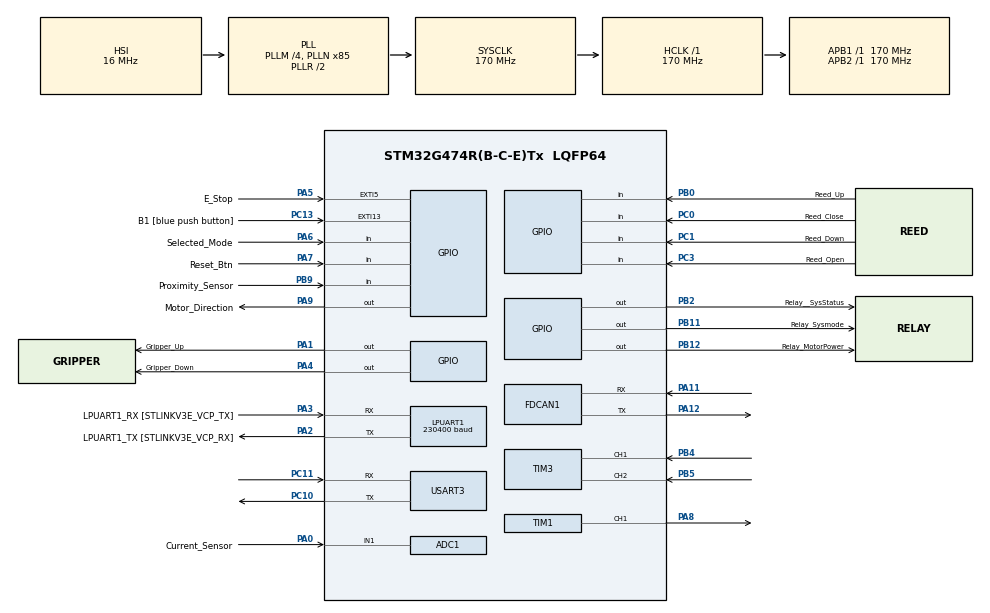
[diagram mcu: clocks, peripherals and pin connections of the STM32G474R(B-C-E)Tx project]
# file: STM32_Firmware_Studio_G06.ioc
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ADC1.Channel-2\#ChannelRegularConversion=ADC_CHANNEL_1
ADC1.NbrOfConversionFlag=1
ADC1.OffsetNumber-2\#ChannelRegularConversion=ADC_OFFSET_NONE
ADC1.Rank-2\#ChannelRegularConversion=1
ADC1.SamplingTime-2\#ChannelRegularConversion=ADC_SAMPLETIME_2CYCLES_5
ADC1.master=1
FDCAN1.CalculateBaudRateNominal=3541666
FDCAN1.CalculateTimeBitNominal=282
FDCAN1.CalculateTimeQuantumNominal=94.11764705882354
LPUART1.BaudRate=230400
LPUART1.Parity=UART_PARITY_EVEN
LPUART1.WordLength=UART_WORDLENGTH_9B
Mcu.Family=STM32G4
Mcu.Name=STM32G474R(B-C-E)Tx
Mcu.Package=LQFP64
NVIC.EXTI15_10_IRQn=true\:0\:0\:false\:false\:true\:true\:true\:true
NVIC.EXTI9_5_IRQn=true\:0\:0\:false\:false\:true\:true\:true\:true
NVIC.LPUART1_IRQn=true\:0\:0\:false\:false\:true\:true\:true\:true
NVIC.PriorityGroup=NVIC_PRIORITYGROUP_4
NVIC.TIM1_UP_TIM16_IRQn=true\:0\:0\:false\:false\:true\:true\:true\:true
NVIC.TIM6_DAC_IRQn=true\:0\:0\:false\:false\:true\:true\:true\:true
NVIC.TIM7_DAC_IRQn=true\:0\:0\:false\:false\:true\:true\:true\:true
NVIC.USART3_IRQn=true\:0\:0\:false\:false\:true\:true\:true\:true
PA0.GPIO_Label=Current_Sensor
PA0.Mode=IN1-Single-Ended
PA0.Signal=ADC1_IN1
PA1.GPIO_Label=Gripper_Up
PA1.Signal=GPIO_Output
PA11.Mode=FDCAN_Activate
PA11.Signal=FDCAN1_RX
PA12.Mode=FDCAN_Activate
PA12.Signal=FDCAN1_TX
PA13.GPIO_Label=T_SWDIO
PA13.Signal=SYS_JTMS-SWDIO
PA14.GPIO_Label=T_SWCLK
PA14.Signal=SYS_JTCK-SWCLK
PA2.GPIO_Label=LPUART1_TX [STLINKV3E_VCP_RX]
PA2.Mode=Asynchronous
PA2.Signal=LPUART1_TX
PA3.GPIO_Label=LPUART1_RX [STLINKV3E_VCP_TX]
PA3.Mode=Asynchronous
PA3.Signal=LPUART1_RX
PA4.GPIO_Label=Gripper_Down
PA4.Signal=GPIO_Output
PA5.GPIO_Label=E_Stop
PA5.GPIO_ModeDefaultEXTI=GPIO_MODE_IT_FALLING
PA5.GPIO_PuPd=GPIO_PULLUP
PA5.Signal=GPXTI5
PA6.GPIO_Label=Selected_Mode
PA6.GPIO_PuPd=GPIO_PULLUP
PA6.Signal=GPIO_Input
PA7.GPIO_Label=Reset_Btn
PA7.GPIO_PuPd=GPIO_PULLUP
PA7.Signal=GPIO_Input
PA8.Signal=S_TIM1_CH1
PA9.GPIO_Label=Motor_Direction
PA9.Signal=GPIO_Output
PB0.GPIO_Label=Reed_Up
PB0.Signal=GPIO_Input
PB11.GPIO_Label=Relay_Sysmode
PB11.Signal=GPIO_Output
PB12.GPIO_Label=Relay_MotorPower
PB12.Signal=GPIO_Output
PB2.GPIO_Label=Relay__SysStatus
PB2.Signal=GPIO_Output
PB3.GPIO_Label=T_SWO
PB3.Signal=SYS_JTDO-SWO
PB4.Signal=S_TIM3_CH1
PB5.Signal=S_TIM3_CH2
PB9.GPIO_Label=Proximity_Sensor
PB9.GPIO_PuPd=GPIO_PULLUP
PB9.Signal=GPIO_Input
PC0.GPIO_Label=Reed_Close 
PC0.Signal=GPIO_Input
PC1.GPIO_Label=Reed_Down 
PC1.Signal=GPIO_Input
PC10.Mode=Asynchronous
PC10.Signal=USART3_TX
PC11.Mode=Asynchronous
PC11.Signal=USART3_RX
PC13.GPIO_Label=B1 [blue push button]
PC13.Signal=GPXTI13
PC14-OSC32_IN.GPIO_Label=RCC_OSC32_IN
PC14-OSC32_IN.Signal=RCC_OSC32_IN
PC15-OSC32_OUT.GPIO_Label=RCC_OSC32_OUT
PC15-OSC32_OUT.Signal=RCC_OSC32_OUT
PC3.GPIO_Label=Reed_Open 
PC3.Signal=GPIO_Input
PF0-OSC_IN.GPIO_Label=RCC_OSC_IN
PF0-OSC_IN.Signal=RCC_OSC_IN
PF1-OSC_OUT.GPIO_Label=RCC_OSC_OUT
PF1-OSC_OUT.Signal=RCC_OSC_OUT
ProjectManager.HeapSize=0x200
ProjectManager.StackSize=0x400
ProjectManager.TargetToolchain=STM32CubeIDE
RCC.ADC12Freq_Value=170000000
RCC.ADC345Freq_Value=170000000
RCC.AHBFreq_Value=170000000
RCC.APB1Freq_Value=170000000
RCC.APB1TimFreq_Value=170000000
RCC.APB2Freq_Value=170000000
RCC.APB2TimFreq_Value=170000000
RCC.CortexFreq_Value=170000000
RCC.EXTERNAL_CLOCK_VALUE=12288000
RCC.HCLKFreq_Value=170000000
RCC.HSE_VALUE=24000000
RCC.HSI48_VALUE=48000000
RCC.HSI_VALUE=16000000
RCC.LSE_VALUE=32768
RCC.PLLM=RCC_PLLM_DIV4
RCC.PLLN=85
RCC.RTCClockSelection=RCC_RTCCLKSOURCE_LSE
RCC.SYSCLKFreq_VALUE=170000000
RCC.SYSCLKSource=RCC_SYSCLKSOURCE_PLLCLK
RCC.USBFreq_Value=170000000
RCC.VCOOutputFreq_Value=340000000
SH.S_TIM1_CH1.0=TIM1_CH1,PWM Generation1 CH1
SH.S_TIM3_CH1.0=TIM3_CH1,Encoder_Interface
SH.S_TIM3_CH2.0=TIM3_CH2,Encoder_Interface
TIM1.Channel-PWM\ Generation1\ CH1=TIM_CHANNEL_1
TIM1.PeriodNoDither=50
TIM1.Prescaler=169
TIM16.PeriodNoDither=49
TIM16.Prescaler=16999
TIM3.EncoderMode=TIM_ENCODERMODE_TI12
TIM6.AutoReloadPreload=TIM_AUTORELOAD_PRELOAD_ENABLE
TIM6.PeriodNoDither=9999
TIM6.Prescaler=169
TIM7.PeriodNoDither=999
TIM7.Prescaler=169
USART3.SwapParam=ADVFEATURE_SWAP_ENABLE
USART3.VirtualMode-Asynchronous=VM_ASYNC
VP_SYS_VS_DBSignals.Mode=DisableDeadBatterySignals
VP_TIM16_VS_ClockSourceINT.Mode=Enable_Timer
VP_TIM1_VS_ClockSourceINT.Mode=Internal
VP_TIM6_VS_ClockSourceINT.Mode=Enable_Timer
VP_TIM7_VS_ClockSourceINT.Mode=Enable_Timer
board=NUCLEO-G474RE

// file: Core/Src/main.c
/* USER CODE BEGIN Header */
/**
 ******************************************************************************
 * @file           : main.c
 * @brief          : Main program body
 ******************************************************************************
 * @attention
 *
 * Copyright (c) 2026 STMicroelectronics.
 * All rights reserved.
 *
 * This software is licensed under terms that can be found in the LICENSE file
 * in the root directory of this software component.
 * If no LICENSE file comes with this software, it is provided AS-IS.
 *
 ******************************************************************************
 */
/* USER CODE END Header */
#include "main.h"

/* USER CODE BEGIN Includes */
#include "motor_controller.h"
#include "modbus_bridge.h"
#include "telemetry_hub.h"
#include "hw_io.h"
#include "kalman.h"
#include "params.h"
#include "app_config.h"
#include "current_sensor.h"
#include <string.h>
#include <stdio.h>
/* USER CODE END Includes */

ADC_HandleTypeDef hadc1;

FDCAN_HandleTypeDef hfdcan1;

UART_HandleTypeDef hlpuart1;
UART_HandleTypeDef huart3;

TIM_HandleTypeDef htim1;
TIM_HandleTypeDef htim3;
TIM_HandleTypeDef htim6;
TIM_HandleTypeDef htim7;
TIM_HandleTypeDef htim16;

/* USER CODE BEGIN PV */
volatile uint8_t rx_byte;
volatile char rx_packet[4];
volatile int rx_ptr = 0;
volatile char rx_debug_log[16]; // Circular log to see command history in Live Expressions
volatile uint8_t debug_idx = 0;
volatile uint8_t modbus_rx_byte;

/* --- USART3 (ESP32) non-blocking TX queue (bug 0-C) -----------------------
 * Both the RX-complete callback and Motor_SendAudioCommand run in ISR context
 * (USART3 IRQ and the 100 Hz TIM6 control loop). A blocking HAL_UART_Transmit
 * there stalls the ISR for milliseconds, delaying the Receive_IT re-arm →
 * RX overrun → error-callback fault loop. Bytes are enqueued here; the main
 * loop drains the queue at thread level where blocking is safe. */
#define U3_TXQ_SIZE 64
static volatile uint8_t  u3_txq[U3_TXQ_SIZE];
static volatile uint16_t u3_txq_head = 0;   /* producer index */
static volatile uint16_t u3_txq_tail = 0;   /* consumer index */

/* Guard flag for Bug 1-D: set true while LPUART1 is being torn down and
 * re-initialised during a baud-rate switch.  _write() checks this flag so
 * that any printf that fires during the reconfiguration window returns
 * immediately instead of writing to a half-torn-down peripheral. */
volatile bool lpuart_reconfiguring = false;
/* USER CODE END PV */

void SystemClock_Config(void);
static void MX_GPIO_Init(void);
static void MX_FDCAN1_Init(void);
static void MX_LPUART1_UART_Init(void);
static void MX_USART3_UART_Init(void);
static void MX_TIM1_Init(void);
static void MX_TIM3_Init(void);
static void MX_TIM6_Init(void);
static void MX_TIM16_Init(void);
static void MX_ADC1_Init(void);
static void MX_TIM7_Init(void);

/* USER CODE BEGIN 0 */

/* ISR-safe byte enqueue for USART3 TX (bug 0-C). Drops bytes if full — echo
 * and audio commands are non-critical. PRIMASK guards the head update so a
 * non-ISR caller (e.g. homing audio) cannot be preempted mid-enqueue. */
void USART3_QueueTx(const uint8_t *data, uint16_t len) {
    uint32_t primask = __get_PRIMASK();
    __disable_irq();
    for (uint16_t i = 0; i < len; i++) {
        uint16_t next = (uint16_t)((u3_txq_head + 1u) % U3_TXQ_SIZE);
        if (next == u3_txq_tail) break;       /* full — drop remainder */
        u3_txq[u3_txq_head] = data[i];
        u3_txq_head = next;
    }
    __set_PRIMASK(primask);
}

/* Drain the USART3 TX queue from the main loop (thread context only). */
static void USART3_DrainTx(void) {
    while (u3_txq_tail != u3_txq_head) {
        uint8_t b = u3_txq[u3_txq_tail];
        if (HAL_UART_Transmit(&huart3, &b, 1, 5) != HAL_OK) break;
        u3_txq_tail = (uint16_t)((u3_txq_tail + 1u) % U3_TXQ_SIZE);
    }
}

/**
 * @brief Reconfigure LPUART1 between Dashboard (115200 8N1) and Modbus (230400 8E1).
 * @param modbus_mode  true=Modbus/Base System, false=Dashboard/Joystick
 */
void LPUART1_SetMode(bool modbus_mode) {
	/* Block _write() while the peripheral is being reconfigured (Bug 1-D). */
	lpuart_reconfiguring = true;

	/* Abort any ongoing Receive_IT — do NOT DeInit.
	 * HAL_UART_DeInit calls HAL_UART_MspDeInit which disables the LPUART1
	 * RCC clock and reconfigures the GPIO pins to analog.  The subsequent
	 * HAL_UART_MspInit then calls HAL_RCCEx_PeriphCLKConfig which can time
	 * out or return HAL_ERROR on a live re-init → Error_Handler → infinite
	 * loop → IWDG reset.  Calling HAL_UART_Init on a non-RESET-state handle
	 * skips MspInit entirely and just reconfigures the peripheral registers
	 * in-place, which is all we need for a baud-rate change. */
	HAL_UART_Abort(&hlpuart1);
	HAL_Delay(5);   /* let any in-flight TX byte finish (~44 µs at 115200) */

	if (modbus_mode) {
		hlpuart1.Init.BaudRate = 230400;
		hlpuart1.Init.WordLength = UART_WORDLENGTH_9B;
		hlpuart1.Init.Parity = UART_PARITY_EVEN;
	} else {
		hlpuart1.Init.BaudRate = 115200;
		hlpuart1.Init.WordLength = UART_WORDLENGTH_8B;
		hlpuart1.Init.Parity = UART_PARITY_NONE;
	}
	hlpuart1.Init.StopBits = UART_STOPBITS_1;
	hlpuart1.Init.Mode = UART_MODE_TX_RX;
	hlpuart1.Init.HwFlowCtl = UART_HWCONTROL_NONE;
	hlpuart1.Init.OneBitSampling = UART_ONE_BIT_SAMPLE_DISABLE;
	hlpuart1.Init.ClockPrescaler = UART_PRESCALER_DIV1;
	hlpuart1.AdvancedInit.AdvFeatureInit = UART_ADVFEATURE_NO_INIT;

	if (HAL_UART_Init(&hlpuart1) != HAL_OK)
		Error_Handler();
	HAL_UARTEx_SetTxFifoThreshold(&hlpuart1, UART_TXFIFO_THRESHOLD_1_8);
	HAL_UARTEx_SetRxFifoThreshold(&hlpuart1, UART_RXFIFO_THRESHOLD_1_8);
	HAL_UARTEx_DisableFifoMode(&hlpuart1);

	lpuart_reconfiguring = false;
	HAL_UART_Receive_IT(&hlpuart1, (uint8_t*) &modbus_rx_byte, 1);
}

/* Deferred toggle flag — set from ISR/anywhere, processed in main loop only.
 * Mode_Toggle() uses HAL_Delay + HAL_UART_DeInit which can't run safely in ISR
 * (HAL_Delay depends on SysTick, which has lower priority than TIM6/UART ISRs). */
volatile bool mode_toggle_request = false;

/**
 * @brief Request a mode toggle from anywhere (ISR-safe).
 *        Actual toggle happens in main loop.
 */
void Mode_Toggle(void) {
	mode_toggle_request = true;
}

/**
 * @brief Perform the actual mode switch. ONLY call from main loop.
 *        Toggles control_system_mode and reconfigures LPUART1.
 */
static void Mode_Toggle_Impl(void) {
	extern volatile Control_SystemMode_t control_system_mode;
	extern volatile bool emergency_stop;
	extern volatile bool startup_estop_pending;
	hw.mode_toggle_fired++;   /* visible in Live Expressions — confirms this function ran */

	if (control_system_mode == CONTROL_MODE_JOYSTICK) {
		control_system_mode = CONTROL_MODE_BASE_SYSTEM;
		LPUART1_SetMode(true);   /* switch to 230400 8E1 for Modbus */
		Motor_SendAudioCommand('S');
		printf("[DBG] Mode -> BASE_SYSTEM (fired=%lu)\r\n", (unsigned long)hw.mode_toggle_fired);

		FAULT_CLR(FAULT_STARTUP_ESTOP | FAULT_JOYSTICK_LOST);
		startup_estop_pending = false;
		if (!hw.in_estop && fault_code == FAULT_NONE) {
			emergency_stop = false;
		}
	} else {
		control_system_mode = CONTROL_MODE_JOYSTICK;
		LPUART1_SetMode(false);  /* switch back to 115200 8N1 for dashboard */
		Motor_SendAudioCommand('J');
		printf("[DBG] Mode -> JOYSTICK (fired=%lu)\r\n", (unsigned long)hw.mode_toggle_fired);
	}
}

/* USER CODE END 0 */

int main(void)
{

  /* MCU Configuration--------------------------------------------------------*/

  /* Reset of all peripherals, Initializes the Flash interface and the Systick. */
  HAL_Init();

  /* Configure the system clock */
  SystemClock_Config();

  /* Initialize all configured peripherals */
  MX_GPIO_Init();
  MX_FDCAN1_Init();
  MX_LPUART1_UART_Init();
  MX_USART3_UART_Init();
  MX_TIM1_Init();
  MX_TIM3_Init();
  MX_TIM6_Init();
  MX_TIM16_Init();
  MX_ADC1_Init();
  MX_TIM7_Init();
  /* USER CODE BEGIN 2 */
	/* Read the slide switch at boot so the system starts in the correct mode
	 * without requiring a toggle-cycle. Selected_Mode_Pin is PULLUP active-low:
	 * GPIO_PIN_RESET = switch in BASE position (sw_boot=1). */
	{
		extern volatile Control_SystemMode_t control_system_mode;
		uint8_t sw_boot = (HAL_GPIO_ReadPin(Selected_Mode_GPIO_Port, Selected_Mode_Pin)
		                   == GPIO_PIN_RESET) ? 1u : 0u;
		control_system_mode = sw_boot ? CONTROL_MODE_BASE_SYSTEM : CONTROL_MODE_JOYSTICK;
	/* ModbusBridge_Init MUST run before LPUART1_SetMode arms the RX interrupt.
	 * Any byte arriving on LPUART1 goes straight to ModbusBridge_RxCallback(),
	 * which dereferences hmodbus.htim. If that pointer is still NULL the MCU
	 * faults immediately. */
		ModbusBridge_Init();
		LPUART1_SetMode(sw_boot ? true : false);

		/* Give the base system time to send its first Modbus probe and get a
		 * response before Motor_Init() occupies the CPU for another ~50 ms.
		 * Without this, the base system's cold-start scan arrives during the
		 * MX peripheral init window when LPUART1 RX is not yet armed, gets
		 * no reply, and declares "abnormal heartbeat" — requiring a manual
		 * STM32 reset to re-sync.  300 ms is enough for any base system to
		 * finish booting and fire its first poll. */
		if (sw_boot) {
			uint32_t poll_end = HAL_GetTick() + 300;
			while (HAL_GetTick() < poll_end) {
				ModbusBridge_Process();
			}
		}
	}

	/* Log reset cause BEFORE Motor_Init clears the IWDG flags with its own
	 * activity.  Multiple flags can be set simultaneously (e.g. BOD+PIN on a
	 * clean power-on), so we log every set bit rather than early-exit. */
	{
		uint32_t csr = RCC->CSR;
		RCC->CSR |= RCC_CSR_RMVF;   /* clear all reset flags for the next boot */
		if (csr & RCC_CSR_IWDGRSTF)
			HAL_UART_Transmit(&hlpuart1,
				(uint8_t*)"[BOOT] Reset: IWDG watchdog timeout\r\n", 37, 200);
		if (csr & RCC_CSR_WWDGRSTF)
			HAL_UART_Transmit(&hlpuart1,
				(uint8_t*)"[BOOT] Reset: Window watchdog\r\n", 31, 200);
		if (csr & RCC_CSR_SFTRSTF)
			HAL_UART_Transmit(&hlpuart1,
				(uint8_t*)"[BOOT] Reset: Software (NVIC_SystemReset)\r\n", 43, 200);
		if (csr & RCC_CSR_BORRSTF)
			HAL_UART_Transmit(&hlpuart1,
				(uint8_t*)"[BOOT] Reset: Brown-out (supply voltage drop!)\r\n", 48, 200);
		if ((csr & RCC_CSR_PINRSTF) && !(csr & RCC_CSR_BORRSTF))
			HAL_UART_Transmit(&hlpuart1,
				(uint8_t*)"[BOOT] Reset: NRST pin (button or debugger)\r\n", 45, 200);
		if (csr & RCC_CSR_LPWRRSTF)
			HAL_UART_Transmit(&hlpuart1,
				(uint8_t*)"[BOOT] Reset: Low-power exit\r\n", 30, 200);
	}

	Config_Init(); // Load tuning from Flash
	Motor_Init();
	HW_Init();
	CurrentSensor_Init(&hadc1);
	Motor_SetVoltageLimit(SUPPLY_VOLTAGE, SUPPLY_VOLTAGE); /* 24 V — must match params.h SUPPLY_VOLTAGE used by the FF math */
	Motor_SetMotionProfile(250.0f, 500.0f, 0.1f);
	Telemetry_Init(&hlpuart1);
	Kalman_Init();
	HAL_TIM_Base_Start_IT(&htim6); /* fires HAL_TIM_PeriodElapsedCallback at 1 kHz — control loop */
	/* Bug 1-H: start TIM7 so Kalman_Tick fires at 1 kHz.
	 * PREREQUISITE: TIM7 must be enabled in CubeMX (.ioc) as a Basic Timer,
	 * Prescaler=(170-1), Period=(1000-1), with "TIM7 global interrupt" checked
	 * under NVIC settings.  Without that .ioc entry MX_TIM7_Init() and htim7
	 * are not generated and this line will fail to compile. */
	HAL_TIM_Base_Start_IT(&htim7);

	HAL_UART_Receive_IT(&hlpuart1, (uint8_t*) &modbus_rx_byte, 1);
	HAL_UART_Receive_IT(&huart3, (uint8_t*) &rx_byte, 1);

	/* IWDG — 15-second independent hardware watchdog.
	 * If the firmware hangs, TIM1 keeps generating PWM in hardware (motor runs
	 * uncontrolled). IWDG resets the MCU; Motor_Init() then latches startup ESTOP
	 * which cuts PWM immediately.  15 s is safely longer than the worst-case
	 * gripper sequence (4 × REED_SW_TIMEOUT_MS = 12 s); wait_for_reed() also
	 * kicks the IWDG on each loop iteration. */
	IWDG->KR  = 0x5555U;   /* unlock PR and RLR */
	IWDG->PR  = 6U;         /* prescaler /256 */
	IWDG->RLR = 1875U;      /* 256 × 1875 / 32000 Hz ≈ 15 s nominal */
	/* Wait for register update to propagate through LSI domain (normally < 300 µs).
	 * Cap at 10 ms so a stuck SR bit cannot block the main loop from starting. */
	{ uint32_t _t = HAL_GetTick(); while ((IWDG->SR & 0x7U) && (HAL_GetTick() - _t < 10)) {} }
	IWDG->KR  = 0xCCCCU;   /* start IWDG */
  /* USER CODE END 2 */

  /* Infinite loop */
  /* USER CODE BEGIN WHILE */
	uint32_t last_matlab_tick = HAL_GetTick();
	while (1) {
    /* USER CODE END WHILE */

    /* USER CODE BEGIN 3 */
		hw.dbg_loop_top++;   /* DIAG: proves the main loop is alive and iterating */
		IWDG->KR = 0xAAAAU;  /* kick watchdog — loop is alive */

		USART3_DrainTx();   /* flush deferred ESP32 echo/audio bytes (bug 0-C) */

		/* Emit strings deferred by the 100 Hz control ISR (bug 1-G). */
		Motor_DrainControlLog();

		/* Run the blocking gripper Pick/Place sequence at thread level (bug 1-F).
		 * The joystick command arrives in the USART3 RX ISR and only sets
		 * gripper_seq_request; the busy-wait on reed switches must happen here,
		 * never in the ISR. Clear the request before running so a press during
		 * execution is re-latched for the next loop. */
		if (gripper_seq_request != 0) {
			uint8_t req = gripper_seq_request;
			gripper_seq_request = 0;
			if      (req == 1) Gripper_Sequence_Pick();
			else if (req == 2) Gripper_Sequence_Place();
		}

		if (HAL_GetTick() - last_matlab_tick >= 20) {
			Motor_SendDataToMatlab();
			/* HW_RefreshIO() is owned solely by the 100 Hz TIM6 ISR now (bug 1-A);
			 * calling it here too made it reentrant and corrupted its static
			 * debounce/ADC state. The ISR already refreshes hw at 100 Hz. */
			Telemetry_Update();
			last_matlab_tick = HAL_GetTick();
		}

		// Flash Save Check (Triggered from Dashboard via Telemetry CMD)
		extern volatile bool flash_save_requested;
		if (flash_save_requested) {
			flash_save_requested = false;
			Config_Save();
		}

		/* Slide-switch debounce and mode sync — runs entirely in the main loop.
		 * Reads Selected_Mode_Pin directly every 10 ms. Requires 5 consecutive
		 * consistent reads (50 ms) before committing — fast enough for a slide
		 * switch but rejects brief EMI spikes. Mode change is blocked while
		 * emergency_stop is active so relay-arc noise cannot cause a spurious
		 * mode flip during or just after an E-stop event. */
		{
			static uint32_t sw_last_tick    = 0;
			static uint8_t  sw_stable_state = 0xFF; /* 0xFF = uninitialized */
			static uint8_t  sw_candidate    = 0;
			static uint8_t  sw_count        = 0;

			if (HAL_GetTick() - sw_last_tick >= 10) {
				sw_last_tick = HAL_GetTick();
				uint8_t sw_raw = (HAL_GPIO_ReadPin(Selected_Mode_GPIO_Port, Selected_Mode_Pin)
				                  == GPIO_PIN_RESET) ? 1 : 0;

				if (sw_stable_state == 0xFF) {
					sw_stable_state = sw_raw;
					sw_candidate    = sw_raw;
				} else if (sw_raw == sw_candidate) {
					if (sw_count < 5) sw_count++;           /* 5 × 10 ms = 50 ms */
					if (sw_count == 5 && sw_raw != sw_stable_state) {
						sw_stable_state = sw_raw;
						bool sw_wants_base = (sw_raw == 1);
						bool is_base = (control_system_mode == CONTROL_MODE_BASE_SYSTEM);
						if (sw_wants_base != is_base) {
							Mode_Toggle_Impl();
						}
					}
				} else {
					sw_candidate = sw_raw;
					sw_count     = 0;
				}
			}
		}

		hw.dbg_loop_premode++;  /* DIAG: proves the loop reaches the mode-toggle check */

		/* Handle deferred mode-toggle requests from dashboard / joystick button.
		 * Doing the actual switch here (main loop) is safe because HAL_Delay
		 * works correctly outside of higher-priority interrupts. */
		if (mode_toggle_request) {
			mode_toggle_request = false;
			Mode_Toggle_Impl();
		}

		if (trigger_homing_sequence) {
			static uint32_t last_homing_tick = 0;
			if (HAL_GetTick() - last_homing_tick >= 10) {
				if (Motor_RunHomingSequence()) {
					trigger_homing_sequence = false;
				}
				last_homing_tick = HAL_GetTick();
			}
		}

		ModbusBridge_UpdateRegisters();
		ModbusBridge_Process();
	}
  /* USER CODE END 3 */
}

void SystemClock_Config(void)
{
  RCC_OscInitTypeDef RCC_OscInitStruct = {0};
  RCC_ClkInitTypeDef RCC_ClkInitStruct = {0};

  /** Configure the main internal regulator output voltage
  */
  HAL_PWREx_ControlVoltageScaling(PWR_REGULATOR_VOLTAGE_SCALE1_BOOST);

  /** Initializes the RCC Oscillators according to the specified parameters
  * in the RCC_OscInitTypeDef structure.
  */
  RCC_OscInitStruct.OscillatorType = RCC_OSCILLATORTYPE_HSI;
  RCC_OscInitStruct.HSIState = RCC_HSI_ON;
  RCC_OscInitStruct.HSICalibrationValue = RCC_HSICALIBRATION_DEFAULT;
  RCC_OscInitStruct.PLL.PLLState = RCC_PLL_ON;
  RCC_OscInitStruct.PLL.PLLSource = RCC_PLLSOURCE_HSI;
  RCC_OscInitStruct.PLL.PLLM = RCC_PLLM_DIV4;
  RCC_OscInitStruct.PLL.PLLN = 85;
  RCC_OscInitStruct.PLL.PLLP = RCC_PLLP_DIV2;
  RCC_OscInitStruct.PLL.PLLQ = RCC_PLLQ_DIV2;
  RCC_OscInitStruct.PLL.PLLR = RCC_PLLR_DIV2;
  if (HAL_RCC_OscConfig(&RCC_OscInitStruct) != HAL_OK)
  {
    Error_Handler();
  }

  /** Initializes the CPU, AHB and APB buses clocks
  */
  RCC_ClkInitStruct.ClockType = RCC_CLOCKTYPE_HCLK|RCC_CLOCKTYPE_SYSCLK
                              |RCC_CLOCKTYPE_PCLK1|RCC_CLOCKTYPE_PCLK2;
  RCC_ClkInitStruct.SYSCLKSource = RCC_SYSCLKSOURCE_PLLCLK;
  RCC_ClkInitStruct.AHBCLKDivider = RCC_SYSCLK_DIV1;
  RCC_ClkInitStruct.APB1CLKDivider = RCC_HCLK_DIV1;
  RCC_ClkInitStruct.APB2CLKDivider = RCC_HCLK_DIV1;

  if (HAL_RCC_ClockConfig(&RCC_ClkInitStruct, FLASH_LATENCY_4) != HAL_OK)
  {
    Error_Handler();
  }
}

static void MX_ADC1_Init(void)
{

  ADC_MultiModeTypeDef multimode = {0};
  ADC_ChannelConfTypeDef sConfig = {0};

  /** Common config
  */
  hadc1.Instance = ADC1;
  hadc1.Init.ClockPrescaler = ADC_CLOCK_SYNC_PCLK_DIV4;
  hadc1.Init.Resolution = ADC_RESOLUTION_12B;
  hadc1.Init.DataAlign = ADC_DATAALIGN_RIGHT;
  hadc1.Init.GainCompensation = 0;
  hadc1.Init.ScanConvMode = ADC_SCAN_DISABLE;
  hadc1.Init.EOCSelection = ADC_EOC_SINGLE_CONV;
  hadc1.Init.LowPowerAutoWait = DISABLE;
  hadc1.Init.ContinuousConvMode = DISABLE;
  hadc1.Init.NbrOfConversion = 1;
  hadc1.Init.DiscontinuousConvMode = DISABLE;
  hadc1.Init.ExternalTrigConv = ADC_SOFTWARE_START;
  hadc1.Init.ExternalTrigConvEdge = ADC_EXTERNALTRIGCONVEDGE_NONE;
  hadc1.Init.DMAContinuousRequests = DISABLE;
  hadc1.Init.Overrun = ADC_OVR_DATA_PRESERVED;
  hadc1.Init.OversamplingMode = DISABLE;
  if (HAL_ADC_Init(&hadc1) != HAL_OK)
  {
    Error_Handler();
  }

  /** Configure the ADC multi-mode
  */
  multimode.Mode = ADC_MODE_INDEPENDENT;
  if (HAL_ADCEx_MultiModeConfigChannel(&hadc1, &multimode) != HAL_OK)
  {
    Error_Handler();
  }

  /** Configure Regular Channel
  */
  sConfig.Channel = ADC_CHANNEL_1;
  sConfig.Rank = ADC_REGULAR_RANK_1;
  sConfig.SamplingTime = ADC_SAMPLETIME_2CYCLES_5;
  sConfig.SingleDiff = ADC_SINGLE_ENDED;
  sConfig.OffsetNumber = ADC_OFFSET_NONE;
  sConfig.Offset = 0;
  if (HAL_ADC_ConfigChannel(&hadc1, &sConfig) != HAL_OK)
  {
    Error_Handler();
  }

}

static void MX_FDCAN1_Init(void)
{

  hfdcan1.Instance = FDCAN1;
  hfdcan1.Init.ClockDivider = FDCAN_CLOCK_DIV1;
  hfdcan1.Init.FrameFormat = FDCAN_FRAME_CLASSIC;
  hfdcan1.Init.Mode = FDCAN_MODE_NORMAL;
  hfdcan1.Init.AutoRetransmission = DISABLE;
  hfdcan1.Init.TransmitPause = DISABLE;
  hfdcan1.Init.ProtocolException = DISABLE;
  hfdcan1.Init.NominalPrescaler = 16;
  hfdcan1.Init.NominalSyncJumpWidth = 1;
  hfdcan1.Init.NominalTimeSeg1 = 1;
  hfdcan1.Init.NominalTimeSeg2 = 1;
  hfdcan1.Init.DataPrescaler = 1;
  hfdcan1.Init.DataSyncJumpWidth = 1;
  hfdcan1.Init.DataTimeSeg1 = 1;
  hfdcan1.Init.DataTimeSeg2 = 1;
  hfdcan1.Init.StdFiltersNbr = 0;
  hfdcan1.Init.ExtFiltersNbr = 0;
  hfdcan1.Init.TxFifoQueueMode = FDCAN_TX_FIFO_OPERATION;
  if (HAL_FDCAN_Init(&hfdcan1) != HAL_OK)
  {
    Error_Handler();
  }

}

static void MX_LPUART1_UART_Init(void)
{

  hlpuart1.Instance = LPUART1;
  hlpuart1.Init.BaudRate = 230400;
  hlpuart1.Init.WordLength = UART_WORDLENGTH_9B;
  hlpuart1.Init.StopBits = UART_STOPBITS_1;
  hlpuart1.Init.Parity = UART_PARITY_EVEN;
  hlpuart1.Init.Mode = UART_MODE_TX_RX;
  hlpuart1.Init.HwFlowCtl = UART_HWCONTROL_NONE;
  hlpuart1.Init.OneBitSampling = UART_ONE_BIT_SAMPLE_DISABLE;
  hlpuart1.Init.ClockPrescaler = UART_PRESCALER_DIV1;
  hlpuart1.AdvancedInit.AdvFeatureInit = UART_ADVFEATURE_NO_INIT;
  if (HAL_UART_Init(&hlpuart1) != HAL_OK)
  {
    Error_Handler();
  }
  if (HAL_UARTEx_SetTxFifoThreshold(&hlpuart1, UART_TXFIFO_THRESHOLD_1_8) != HAL_OK)
  {
    Error_Handler();
  }
  if (HAL_UARTEx_SetRxFifoThreshold(&hlpuart1, UART_RXFIFO_THRESHOLD_1_8) != HAL_OK)
  {
    Error_Handler();
  }
  if (HAL_UARTEx_DisableFifoMode(&hlpuart1) != HAL_OK)
  {
    Error_Handler();
  }

}

static void MX_USART3_UART_Init(void)
{

  huart3.Instance = USART3;
  huart3.Init.BaudRate = 115200;
  huart3.Init.WordLength = UART_WORDLENGTH_8B;
  huart3.Init.StopBits = UART_STOPBITS_1;
  huart3.Init.Parity = UART_PARITY_NONE;
  huart3.Init.Mode = UART_MODE_TX_RX;
  huart3.Init.HwFlowCtl = UART_HWCONTROL_NONE;
  huart3.Init.OverSampling = UART_OVERSAMPLING_16;
  huart3.Init.OneBitSampling = UART_ONE_BIT_SAMPLE_DISABLE;
  huart3.Init.ClockPrescaler = UART_PRESCALER_DIV1;
  huart3.AdvancedInit.AdvFeatureInit = UART_ADVFEATURE_SWAP_INIT;
  huart3.AdvancedInit.Swap = UART_ADVFEATURE_SWAP_ENABLE;
  if (HAL_UART_Init(&huart3) != HAL_OK)
  {
    Error_Handler();
  }
  if (HAL_UARTEx_SetTxFifoThreshold(&huart3, UART_TXFIFO_THRESHOLD_1_8) != HAL_OK)
  {
    Error_Handler();
  }
  if (HAL_UARTEx_SetRxFifoThreshold(&huart3, UART_RXFIFO_THRESHOLD_1_8) != HAL_OK)
  {
    Error_Handler();
  }
  if (HAL_UARTEx_DisableFifoMode(&huart3) != HAL_OK)
  {
    Error_Handler();
  }

}

static void MX_TIM1_Init(void)
{

  TIM_ClockConfigTypeDef sClockSourceConfig = {0};
  TIM_MasterConfigTypeDef sMasterConfig = {0};
  TIM_OC_InitTypeDef sConfigOC = {0};
  TIM_BreakDeadTimeConfigTypeDef sBreakDeadTimeConfig = {0};

  htim1.Instance = TIM1;
  htim1.Init.Prescaler = 169;
  htim1.Init.CounterMode = TIM_COUNTERMODE_UP;
  htim1.Init.Period = 50;
  htim1.Init.ClockDivision = TIM_CLOCKDIVISION_DIV1;
  htim1.Init.RepetitionCounter = 0;
  htim1.Init.AutoReloadPreload = TIM_AUTORELOAD_PRELOAD_DISABLE;
  if (HAL_TIM_Base_Init(&htim1) != HAL_OK)
  {
    Error_Handler();
  }
  sClockSourceConfig.ClockSource = TIM_CLOCKSOURCE_INTERNAL;
  if (HAL_TIM_ConfigClockSource(&htim1, &sClockSourceConfig) != HAL_OK)
  {
    Error_Handler();
  }
  if (HAL_TIM_PWM_Init(&htim1) != HAL_OK)
  {
    Error_Handler();
  }
  sMasterConfig.MasterOutputTrigger = TIM_TRGO_RESET;
  sMasterConfig.MasterOutputTrigger2 = TIM_TRGO2_RESET;
  sMasterConfig.MasterSlaveMode = TIM_MASTERSLAVEMODE_DISABLE;
  if (HAL_TIMEx_MasterConfigSynchronization(&htim1, &sMasterConfig) != HAL_OK)
  {
    Error_Handler();
  }
  sConfigOC.OCMode = TIM_OCMODE_PWM1;
  sConfigOC.Pulse = 0;
  sConfigOC.OCPolarity = TIM_OCPOLARITY_HIGH;
  sConfigOC.OCNPolarity = TIM_OCNPOLARITY_HIGH;
  sConfigOC.OCFastMode = TIM_OCFAST_DISABLE;
  sConfigOC.OCIdleState = TIM_OCIDLESTATE_RESET;
  sConfigOC.OCNIdleState = TIM_OCNIDLESTATE_RESET;
  if (HAL_TIM_PWM_ConfigChannel(&htim1, &sConfigOC, TIM_CHANNEL_1) != HAL_OK)
  {
    Error_Handler();
  }
  sBreakDeadTimeConfig.OffStateRunMode = TIM_OSSR_DISABLE;
  sBreakDeadTimeConfig.OffStateIDLEMode = TIM_OSSI_DISABLE;
  sBreakDeadTimeConfig.LockLevel = TIM_LOCKLEVEL_OFF;
  sBreakDeadTimeConfig.DeadTime = 0;
  sBreakDeadTimeConfig.BreakState = TIM_BREAK_DISABLE;
  sBreakDeadTimeConfig.BreakPolarity = TIM_BREAKPOLARITY_HIGH;
  sBreakDeadTimeConfig.BreakFilter = 0;
  sBreakDeadTimeConfig.BreakAFMode = TIM_BREAK_AFMODE_INPUT;
  sBreakDeadTimeConfig.Break2State = TIM_BREAK2_DISABLE;
  sBreakDeadTimeConfig.Break2Polarity = TIM_BREAK2POLARITY_HIGH;
  sBreakDeadTimeConfig.Break2Filter = 0;
  sBreakDeadTimeConfig.Break2AFMode = TIM_BREAK_AFMODE_INPUT;
  sBreakDeadTimeConfig.AutomaticOutput = TIM_AUTOMATICOUTPUT_DISABLE;
  if (HAL_TIMEx_ConfigBreakDeadTime(&htim1, &sBreakDeadTimeConfig) != HAL_OK)
  {
    Error_Handler();
  }
  HAL_TIM_MspPostInit(&htim1);

}

static void MX_TIM3_Init(void)
{

  TIM_Encoder_InitTypeDef sConfig = {0};
  TIM_MasterConfigTypeDef sMasterConfig = {0};

  htim3.Instance = TIM3;
  htim3.Init.Prescaler = 0;
  htim3.Init.CounterMode = TIM_COUNTERMODE_UP;
  htim3.Init.Period = 65535;
  htim3.Init.ClockDivision = TIM_CLOCKDIVISION_DIV1;
  htim3.Init.AutoReloadPreload = TIM_AUTORELOAD_PRELOAD_DISABLE;
  sConfig.EncoderMode = TIM_ENCODERMODE_TI12;
  sConfig.IC1Polarity = TIM_ICPOLARITY_RISING;
  sConfig.IC1Selection = TIM_ICSELECTION_DIRECTTI;
  sConfig.IC1Prescaler = TIM_ICPSC_DIV1;
  sConfig.IC1Filter = 0;
  sConfig.IC2Polarity = TIM_ICPOLARITY_RISING;
  sConfig.IC2Selection = TIM_ICSELECTION_DIRECTTI;
  sConfig.IC2Prescaler = TIM_ICPSC_DIV1;
  sConfig.IC2Filter = 0;
  if (HAL_TIM_Encoder_Init(&htim3, &sConfig) != HAL_OK)
  {
    Error_Handler();
  }
  sMasterConfig.MasterOutputTrigger = TIM_TRGO_RESET;
  sMasterConfig.MasterSlaveMode = TIM_MASTERSLAVEMODE_DISABLE;
  if (HAL_TIMEx_MasterConfigSynchronization(&htim3, &sMasterConfig) != HAL_OK)
  {
    Error_Handler();
  }

}

static void MX_TIM6_Init(void)
{

  TIM_MasterConfigTypeDef sMasterConfig = {0};

  htim6.Instance = TIM6;
  htim6.Init.Prescaler = 169;
  htim6.Init.CounterMode = TIM_COUNTERMODE_UP;
  htim6.Init.Period = 999;   /* 170 MHz / 170 / 1000 = 1 kHz — inner speed loop */
  htim6.Init.AutoReloadPreload = TIM_AUTORELOAD_PRELOAD_ENABLE;
  if (HAL_TIM_Base_Init(&htim6) != HAL_OK)
  {
    Error_Handler();
  }
  sMasterConfig.MasterOutputTrigger = TIM_TRGO_RESET;
  sMasterConfig.MasterSlaveMode = TIM_MASTERSLAVEMODE_DISABLE;
  if (HAL_TIMEx_MasterConfigSynchronization(&htim6, &sMasterConfig) != HAL_OK)
  {
    Error_Handler();
  }

}

static void MX_TIM7_Init(void)
{

  TIM_MasterConfigTypeDef sMasterConfig = {0};

  htim7.Instance = TIM7;
  htim7.Init.Prescaler = 169;
  htim7.Init.CounterMode = TIM_COUNTERMODE_UP;
  htim7.Init.Period = 999;
  htim7.Init.AutoReloadPreload = TIM_AUTORELOAD_PRELOAD_DISABLE;
  if (HAL_TIM_Base_Init(&htim7) != HAL_OK)
  {
    Error_Handler();
  }
  sMasterConfig.MasterOutputTrigger = TIM_TRGO_RESET;
  sMasterConfig.MasterSlaveMode = TIM_MASTERSLAVEMODE_DISABLE;
  if (HAL_TIMEx_MasterConfigSynchronization(&htim7, &sMasterConfig) != HAL_OK)
  {
    Error_Handler();
  }

}

static void MX_TIM16_Init(void)
{

  htim16.Instance = TIM16;
  htim16.Init.Prescaler = 16999;
  htim16.Init.CounterMode = TIM_COUNTERMODE_UP;
  htim16.Init.Period = 49;
  htim16.Init.ClockDivision = TIM_CLOCKDIVISION_DIV1;
  htim16.Init.RepetitionCounter = 0;
  htim16.Init.AutoReloadPreload = TIM_AUTORELOAD_PRELOAD_DISABLE;
  if (HAL_TIM_Base_Init(&htim16) != HAL_OK)
  {
    Error_Handler();
  }

}

static void MX_GPIO_Init(void)
{
  GPIO_InitTypeDef GPIO_InitStruct = {0};

  /* GPIO Ports Clock Enable */
  __HAL_RCC_GPIOC_CLK_ENABLE();
  __HAL_RCC_GPIOF_CLK_ENABLE();
  __HAL_RCC_GPIOA_CLK_ENABLE();
  __HAL_RCC_GPIOB_CLK_ENABLE();

  /*Configure GPIO pin Output Level */
  HAL_GPIO_WritePin(GPIOA, Gripper_Up_Pin|Gripper_Down_Pin|Motor_Direction_Pin, GPIO_PIN_RESET);

  /*Configure GPIO pin Output Level */
  HAL_GPIO_WritePin(GPIOB, Relay__SysStatus_Pin|Relay_Sysmode_Pin|Relay_MotorPower_Pin, GPIO_PIN_RESET);

  /*Configure GPIO pin : B1_Pin */
  GPIO_InitStruct.Pin = B1_Pin;
  GPIO_InitStruct.Mode = GPIO_MODE_IT_RISING;
  GPIO_InitStruct.Pull = GPIO_NOPULL;
  HAL_GPIO_Init(B1_GPIO_Port, &GPIO_InitStruct);

  /*Configure GPIO pins : Reed_Close_Pin Reed_Down_Pin Reed_Open_Pin */
  GPIO_InitStruct.Pin = Reed_Close_Pin|Reed_Down_Pin|Reed_Open_Pin;
  GPIO_InitStruct.Mode = GPIO_MODE_INPUT;
  GPIO_InitStruct.Pull = GPIO_NOPULL;
  HAL_GPIO_Init(GPIOC, &GPIO_InitStruct);

  /*Configure GPIO pins : Gripper_Up_Pin Gripper_Down_Pin Motor_Direction_Pin */
  GPIO_InitStruct.Pin = Gripper_Up_Pin|Gripper_Down_Pin|Motor_Direction_Pin;
  GPIO_InitStruct.Mode = GPIO_MODE_OUTPUT_PP;
  GPIO_InitStruct.Pull = GPIO_NOPULL;
  GPIO_InitStruct.Speed = GPIO_SPEED_FREQ_LOW;
  HAL_GPIO_Init(GPIOA, &GPIO_InitStruct);

  /*Configure GPIO pin : E_Stop_Pin */
  GPIO_InitStruct.Pin = E_Stop_Pin;
  GPIO_InitStruct.Mode = GPIO_MODE_IT_FALLING;
  GPIO_InitStruct.Pull = GPIO_PULLUP;
  HAL_GPIO_Init(E_Stop_GPIO_Port, &GPIO_InitStruct);

  /*Configure GPIO pins : Selected_Mode_Pin Reset_Btn_Pin */
  GPIO_InitStruct.Pin = Selected_Mode_Pin|Reset_Btn_Pin;
  GPIO_InitStruct.Mode = GPIO_MODE_INPUT;
  GPIO_InitStruct.Pull = GPIO_PULLUP;
  HAL_GPIO_Init(GPIOA, &GPIO_InitStruct);

  /*Configure GPIO pin : Reed_Up_Pin */
  GPIO_InitStruct.Pin = Reed_Up_Pin;
  GPIO_InitStruct.Mode = GPIO_MODE_INPUT;
  GPIO_InitStruct.Pull = GPIO_NOPULL;
  HAL_GPIO_Init(Reed_Up_GPIO_Port, &GPIO_InitStruct);

  /*Configure GPIO pins : Relay__SysStatus_Pin Relay_Sysmode_Pin Relay_MotorPower_Pin */
  GPIO_InitStruct.Pin = Relay__SysStatus_Pin|Relay_Sysmode_Pin|Relay_MotorPower_Pin;
  GPIO_InitStruct.Mode = GPIO_MODE_OUTPUT_PP;
  GPIO_InitStruct.Pull = GPIO_NOPULL;
  GPIO_InitStruct.Speed = GPIO_SPEED_FREQ_LOW;
  HAL_GPIO_Init(GPIOB, &GPIO_InitStruct);

  /*Configure GPIO pin : Proximity_Sensor_Pin */
  GPIO_InitStruct.Pin = Proximity_Sensor_Pin;
  GPIO_InitStruct.Mode = GPIO_MODE_INPUT;
  GPIO_InitStruct.Pull = GPIO_PULLUP;
  HAL_GPIO_Init(Proximity_Sensor_GPIO_Port, &GPIO_InitStruct);

  /* EXTI interrupt init*/
  HAL_NVIC_SetPriority(EXTI9_5_IRQn, 0, 0);
  HAL_NVIC_EnableIRQ(EXTI9_5_IRQn);

  HAL_NVIC_SetPriority(EXTI15_10_IRQn, 0, 0);
  HAL_NVIC_EnableIRQ(EXTI15_10_IRQn);

}

/* USER CODE BEGIN 4 */
int _write(int file, char *ptr, int len) {
	extern volatile Control_SystemMode_t control_system_mode;
	/* Route printf / debug output to LPUART1 (Dashboard) ONLY.
	 *
	 * USART3 connects to the ESP32 joystick module.  The only data the ESP32
	 * expects to receive from the STM32 is a single-character echo sent by
	 * HAL_UART_RxCpltCallback as an audio-handshake ACK.  Sending debug
	 * strings to USART3 causes the ESP32 to receive unexpected data, which
	 * makes it fire a 'D' (disconnect) status packet → FAULT_JOYSTICK_LOST
	 * → emergency_stop = true, blocking all motor commands.
	 *
	 * Do NOT add huart3 back here.  Debug logs go to the dashboard only.
	 *
	 * Bug 1-D guard: if LPUART1 is mid-reconfiguration (DeInit called but
	 * Init not yet complete), writing to the peripheral can hard-fault the
	 * MCU.  Return immediately — the log message is sacrificed. */
	if (lpuart_reconfiguring) {
		return len;
	}
	if (control_system_mode != CONTROL_MODE_BASE_SYSTEM) {
		/* JOYSTICK / normal mode: LPUART1 is the dashboard serial channel */
		HAL_UART_Transmit(&hlpuart1, (uint8_t*) ptr, len, 10);
	}
	/* In BASE_SYSTEM mode LPUART1 carries Modbus RTU — suppress debug output
	 * entirely so we never corrupt Modbus frames. */
	return len;
}

void HAL_GPIO_EXTI_Callback(uint16_t GPIO_Pin) {
	/* E-Stop EXTI on PA5: DELIBERATELY DOES NOTHING.
	 *
	 * Background: PA5 has only the MCU's internal ~40 kΩ pull-up — no external
	 * pull-up is possible on this PCB. While the motor runs, conducted and
	 * radiated noise (brush commutation, relay arc) couples onto the high-
	 * impedance pin and produces brief LOW pulses. A microsecond-window
	 * majority vote inside the ISR cannot distinguish those bursts from a real
	 * press because the burst itself can sustain LOW for the entire vote.
	 *
	 * The polled debounce in HW_RefreshIO (100 Hz, 8 consecutive LOW reads,
	 * counter resets on any HIGH read) is the sole authoritative path now.
	 * A real button press easily sustains LOW for >80 ms; EMI bursts do not.
	 * 80 ms detection latency is well below human perception, so safety is
	 * preserved while eliminating the spurious-trip storm.
	 *
	 * The EXTI line stays enabled (CubeMX configures it on falling edge) so
	 * the falling edge still wakes the MCU from any low-power state — but we
	 * intentionally do not act on it here. */
	(void)GPIO_Pin;
}

void HAL_TIM_PeriodElapsedCallback(TIM_HandleTypeDef *htim) {
	if (htim->Instance == TIM6) {
		Motor_ControlLoop();
	} else if (htim->Instance == TIM7) {
		/* 1 kHz Kalman filter tick. u is derived from the last applied PWM
		 * duty cycle; measurement is the encoder angle in radians. */
		extern volatile float current_pwm;
		float u = (current_pwm / 100.0f) * SUPPLY_VOLTAGE;
		float theta_rad = encoder.current_position_deg * (3.14159265f / 180.0f);
		Kalman_SanityTick(u);
		Kalman_Tick(u, theta_rad);
	} else if (htim->Instance == TIM16) {
		/* Modbus RTU T3.5 silence timeout — signal that a frame has ended */
		ModbusBridge_TimerCallback();
	}
}

void HAL_UART_TxCpltCallback(UART_HandleTypeDef *huart) {
	if (huart->Instance == LPUART1) {
		ModbusBridge_TxCallback();
	}
}

void HAL_UART_RxCpltCallback(UART_HandleTypeDef *huart) {
	if (huart->Instance == USART3) {
		char ch = (char) rx_byte;

		// Debug logging (optional, keeps a history of raw bytes)
		rx_debug_log[debug_idx++ % 16] = ch;

		static bool line_too_long = false;
		if (ch == '\n' || ch == '\r') {
			if (rx_ptr == 3 && !line_too_long) {
				/* Validate: all 3 bytes must be printable ASCII (>= 0x20).
				 * UART framing errors leave the data register as 0x00.
				 * Three null bytes look like a packet with status=0 (not 'C'),
				 * which calls Motor_ProcessPacket → is_joystick_connected=false
				 * → FAULT_JOYSTICK_LOST → emergency_stop=true, permanently
				 * re-latching the e-stop faster than Reset can clear it.
				 * Reject any packet with non-printable bytes to block this. */
				if ((uint8_t)rx_packet[0] >= 0x20 &&
				    (uint8_t)rx_packet[1] >= 0x20 &&
				    (uint8_t)rx_packet[2] >= 0x20)
				{
					// We have a valid 3-char packet: [Action][Safety][Status]
					Motor_ProcessPacket(rx_packet[0], rx_packet[1], rx_packet[2]);

					/* Echo the action character back for the audio handshake.
					 * Enqueued (not blocking) — we are inside the USART3 RX ISR (bug 0-C). */
					USART3_QueueTx((const uint8_t*) &rx_packet[0], 1);
				}
				/* else: silently discard — null/garbage bytes from framing error */
			}
			rx_ptr = 0;
			line_too_long = false;
		} else {
			/* Also reject non-printable mid-packet bytes immediately so a framing
			 * error byte cannot contaminate an otherwise valid packet. */
			if ((uint8_t)ch < 0x20) {
				rx_ptr = 0;           /* flush partial packet */
				line_too_long = false;
			} else if (rx_ptr < 3) {
				rx_packet[rx_ptr++] = ch;
			} else {
				line_too_long = true;
			}
		}

		HAL_UART_Receive_IT(&huart3, (uint8_t*) &rx_byte, 1);
	} else if (huart->Instance == LPUART1) {
		ModbusBridge_RxCallback(modbus_rx_byte);
		/* In BASE_SYSTEM mode the wire carries Modbus RTU binary frames.
		 * Feeding binary bytes into the telemetry text parser would call
		 * Motor_RefreshWatchdog() on garbage data and could misfire commands. */
		if (control_system_mode != CONTROL_MODE_BASE_SYSTEM) {
			Telemetry_ProcessByte(modbus_rx_byte);
		}
		/* HAL_UART_Receive_IT can return HAL_BUSY if the interrupt is still
		 * being processed or a byte arrives exactly during this call.
		 * Loop until it returns HAL_OK to ensure the receiver is re-armed. */
		while (HAL_UART_Receive_IT(&hlpuart1, (uint8_t*) &modbus_rx_byte, 1) == HAL_BUSY);
	}
}

/* UART Error recovery.
 *
 * STM32 HAL pitfall: when a UART RX gets a frame error / parity error /
 * overrun (very common during initial ESP32 boot when its TX line floats,
 * or when the system mode flips between BASE_SYSTEM/JOYSTICK and the two
 * sides re-init at slightly different times), HAL sets an error flag and
 * the RX interrupt **stops being serviced** until the flag is cleared and
 * Receive_IT is re-armed. Without this callback the joystick UART (USART3)
 * goes permanently deaf — buzzer still chimes on ESP32-side connect, but
 * STM32 never sees another byte and is_joystick_connected stays false
 * forever.
 *
 * Fix: on any error, clear the error flags and re-arm Receive_IT on the
 * affected UART.
 */
void HAL_UART_ErrorCallback(UART_HandleTypeDef *huart) {
	if (huart->Instance == USART3) {
		__HAL_UART_CLEAR_OREFLAG(huart);
		__HAL_UART_CLEAR_FEFLAG(huart);
		__HAL_UART_CLEAR_NEFLAG(huart);
		__HAL_UART_CLEAR_PEFLAG(huart);
		HAL_UART_Receive_IT(huart, (uint8_t*) &rx_byte, 1);
	} else if (huart->Instance == LPUART1) {
		__HAL_UART_CLEAR_OREFLAG(huart);
		__HAL_UART_CLEAR_FEFLAG(huart);
		__HAL_UART_CLEAR_NEFLAG(huart);
		__HAL_UART_CLEAR_PEFLAG(huart);
		if (control_system_mode == CONTROL_MODE_BASE_SYSTEM) {
			/* Modbus mode: reset protocol state machine + re-arm RX */
			ModbusBridge_UartErrorRecovery();
		} else {
			/* Dashboard mode: re-arm with retry (handles HAL_BUSY) */
			while (HAL_UART_Receive_IT(huart, (uint8_t*) &modbus_rx_byte, 1) == HAL_BUSY);
		}
	}
}
/* USER CODE END 4 */

void Error_Handler(void)
{
	__disable_irq();
	while (1) {
	}
}
